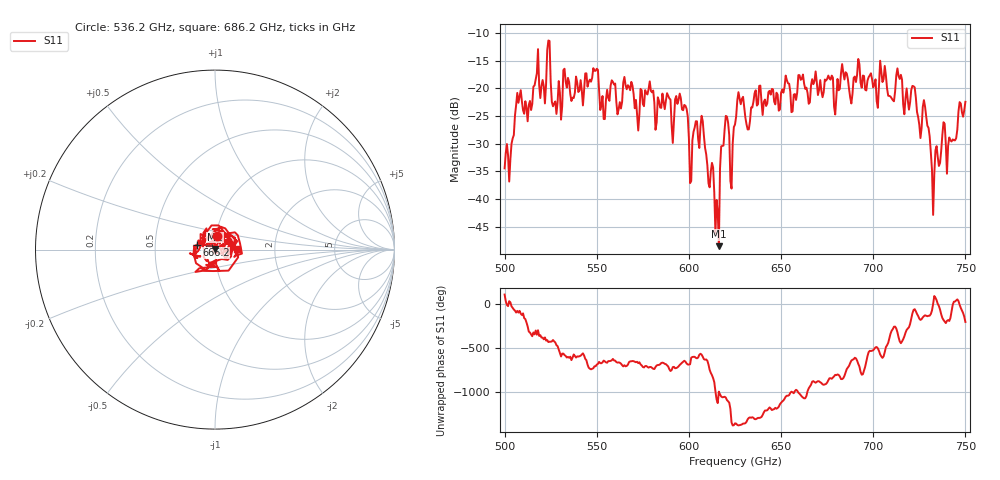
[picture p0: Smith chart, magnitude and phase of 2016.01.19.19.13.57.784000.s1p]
!Created with skrf (http://scikit-rf.org).
# GHz S RI R 50.0
!freq ReS11 ImS11
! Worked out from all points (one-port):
!   401 points, 500 GHz to 750 GHz, reference 50 ohm
!   lowest |S11| = -48.5 dB at 616.2 GHz (marker M1), VSWR 1.01, Z = 50 + j0.376 ohm
!   |S11| at or under -10 dB: start of sweep to end of sweep
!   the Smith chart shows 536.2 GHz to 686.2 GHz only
!   S11 on the Smith chart (normalised r, x): 536.2 GHz: 1.01, +0.15; 666.2 GHz: 0.81, +0.04; 686.2 GHz: 1.28, +0.00
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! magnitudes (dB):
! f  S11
! 500 GHz  -34.4
! 507.5 GHz  -22.6
! 513.8 GHz  -22.3
! 523.8 GHz  -11.4
! 526.9 GHz  -22.8
! 531.2 GHz  -23.2
! 536.2 GHz  -22.3
! 549.4 GHz  -16.9
! 553.1 GHz  -21.4
! 558.8 GHz  -18.8
! 562.5 GHz  -22.5
! 593.8 GHz  -22.8
! 601.2 GHz  -36.7
! 607.5 GHz  -25.9
! 615 GHz  -40.2
! 616.2 GHz  -48.5
! 619.4 GHz  -27.4
! 623.1 GHz  -38.1
! 625 GHz  -26.5
! 656.2 GHz  -24.2
! 666.2 GHz  -19.5
! 686.2 GHz  -18.3
! 687.5 GHz  -21.7
! 705 GHz  -18.9
! 718.8 GHz  -22.2
! 728.1 GHz  -23.3
! 732.5 GHz  -42.8
! 750 GHz  -22.4
